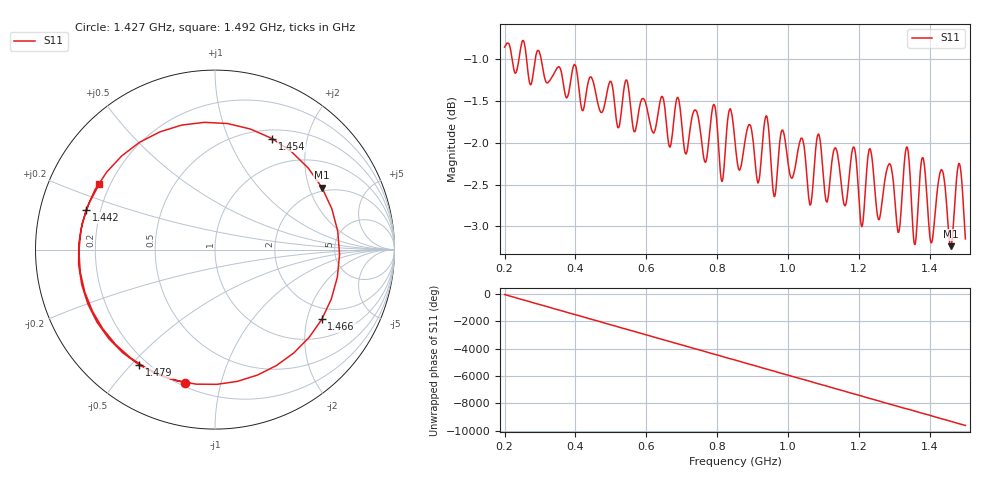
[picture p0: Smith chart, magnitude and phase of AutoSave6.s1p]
!Agilent N9923A: A.05.17
!Date: Sunday, 01 January 2006 13:18:17
!Model: N9923A
!Serial: MY50371189
!CHECKSUM:1992181639
!Correction: S11(ON U)
!S1P File: Measurement: S11:
# Hz S RI R 50
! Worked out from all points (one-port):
!   1001 points, 200 MHz to 1.5 GHz, reference 50 ohm
!   lowest |S11| = -3.2 dB at 1.458 GHz (marker M1), VSWR 5.43, Z = 92.9 + j122 ohm
!   |S11| at or under -10 dB: nowhere
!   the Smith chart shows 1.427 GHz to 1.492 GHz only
!   S11 on the Smith chart (normalised r, x): 1.427 GHz: 0.22, -0.78; 1.442 GHz: 0.15, +0.15; 1.454 GHz: 0.61, +1.46; 1.466 GHz: 1.57, -2.47; 1.479 GHz: 0.17, -0.53; 1.492 GHz: 0.16, +0.26
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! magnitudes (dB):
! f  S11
! 200 MHz  -0.9
! 362.5 MHz  -1.2
! 525 MHz  -1.8
! 687.5 MHz  -1.5
! 710.9 MHz  -2.1
! 850 MHz  -2.0
! 915 MHz  -2.5
! 938.4 MHz  -1.7
! 960.5 MHz  -2.6
! 1.012 GHz  -2.4
! 1.175 GHz  -2.3
! 1.208 GHz  -3.0
! 1.23 GHz  -2.1
! 1.256 GHz  -2.9
! 1.287 GHz  -2.3
! 1.312 GHz  -3.1
! 1.337 GHz  -2.1
! 1.357 GHz  -3.2
! 1.378 GHz  -2.2
! 1.404 GHz  -3.2
! 1.427 GHz  -2.4
! 1.442 GHz  -2.5
! 1.454 GHz  -3.2
! 1.458 GHz  -3.2
! 1.466 GHz  -3.0
! 1.479 GHz  -2.3
! 1.492 GHz  -2.6
! 1.5 GHz  -3.2
